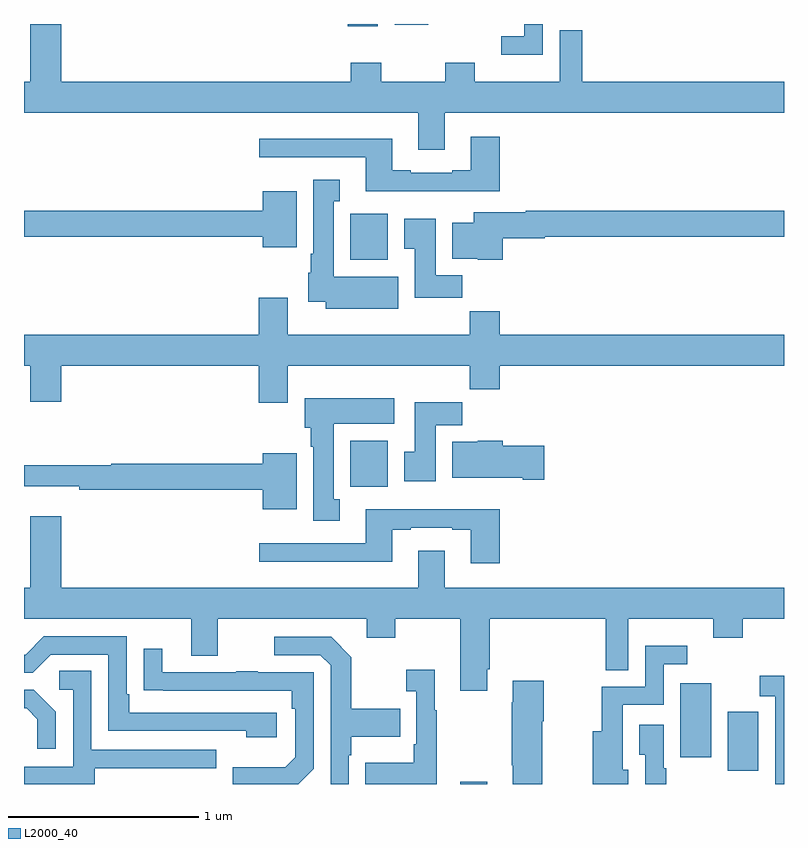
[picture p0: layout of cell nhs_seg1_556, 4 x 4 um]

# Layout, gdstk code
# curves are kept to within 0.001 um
import gdstk
lib = gdstk.Library(unit=1e-6, precision=1e-09)
def R(c, l, rs):  # rectangles x0, y0, x1, y1
    for r in rs: c.add(gdstk.rectangle(r[:2], r[2:], *l))
def P(c, l, *ps):  # polygons
    for p in ps: c.add(gdstk.Polygon(p, *l))
L2000_40 = (2000, 40)

nhs_seg1_556 = lib.new_cell('nhs_seg1_556')
R(nhs_seg1_556, L2000_40, [(143.297,548.199,143.437,548.212), (144.704,548.269,144.865,548.58), (144.455,548.339,144.616,548.728), (142.718,549.764,142.915,550.006), (142.718,550.958,142.915,551.2), (142.703,552.186,142.861,552.199), (142.95,552.195,143.128,552.199)])
P(nhs_seg1_556, L2000_40, [(143.73,552.199),(143.634,552.199),(143.634,552.135),(143.511,552.135),(143.511,552.038),(143.73,552.038)],
  [(143.215,551.732),(145,551.732),(145,551.896),(143.938,551.896),(143.938,552.167),(143.819,552.167),(143.819,551.896),(143.373,551.896),(143.373,551.995),(143.218,551.995),(143.218,551.896),(142.881,551.896),(142.881,551.995),(142.721,551.995),(142.721,551.896),(141.196,551.896),(141.196,552.199),(141.032,552.199),(141.032,551.896),(141,551.896),(141,551.732),(143.075,551.732),(143.075,551.538),(143.215,551.538)],
  [(143.504,551.605),(143.351,551.605),(143.351,551.428),(143.255,551.428),(143.255,551.415),(143.035,551.415),(143.035,551.428),(142.939,551.428),(142.939,551.596),(142.239,551.596),(142.239,551.499),(142.799,551.499),(142.799,551.318),(143.504,551.318)],
  [(142.969,550.87),(142.63,550.87),(142.63,551.267),(142.663,551.267),(142.663,551.38),(142.523,551.38),(142.523,550.99),(142.508,550.99),(142.508,550.89),(142.496,550.89),(142.496,550.736),(142.589,550.736),(142.589,550.7),(142.969,550.7)],
  [(142.435,551.32),(142.256,551.32),(142.256,551.216),(141,551.216),(141,551.08),(142.256,551.08),(142.256,551.024),(142.435,551.024)],
  [(143.519,551.072),(143.742,551.072),(143.742,551.08),(145,551.08),(145,551.216),(143.642,551.216),(143.642,551.209),(143.366,551.209),(143.366,551.152),(143.255,551.152),(143.255,550.964),(143.388,550.964),(143.388,550.958),(143.519,550.958)],
  [(143.306,550.876),(143.167,550.876),(143.167,551.173),(143,551.173),(143,551.017),(143.057,551.017),(143.057,550.758),(143.306,550.758)],
  [(142.387,550.4),(143.347,550.4),(143.347,550.276),(143.504,550.276),(143.504,550.4),(145,550.4),(145,550.564),(143.504,550.564),(143.504,550.688),(143.347,550.688),(143.347,550.564),(142.387,550.564),(142.387,550.759),(142.235,550.759),(142.235,550.564),(141,550.564),(141,550.4),(141.032,550.4),(141.032,550.212),(141.196,550.212),(141.196,550.4),(142.235,550.4),(142.235,550.206),(142.387,550.206)],
  [(142.663,549.698),(142.63,549.698),(142.63,550.094),(142.948,550.094),(142.948,550.228),(142.478,550.228),(142.478,550.074),(142.508,550.074),(142.508,549.974),(142.523,549.974),(142.523,549.585),(142.663,549.585)],
  [(143.167,550.088),(143.306,550.088),(143.306,550.207),(143.057,550.207),(143.057,549.948),(143,549.948),(143,549.792),(143.167,549.792)],
  [(143.737,549.978),(143.519,549.978),(143.519,550.006),(143.388,550.006),(143.388,550),(143.255,550),(143.255,549.812),(143.624,549.812),(143.624,549.8),(143.737,549.8)],
  [(142.435,549.94),(142.256,549.94),(142.256,549.884),(141.46,549.884),(141.46,549.877),(141,549.877),(141,549.767),(141.292,549.767),(141.292,549.748),(142.256,549.748),(142.256,549.644),(142.435,549.644)],
  [(143.504,549.646),(142.799,549.646),(142.799,549.465),(142.239,549.465),(142.239,549.368),(142.939,549.368),(142.939,549.537),(143.035,549.537),(143.035,549.549),(143.255,549.549),(143.255,549.537),(143.351,549.537),(143.351,549.36),(143.504,549.36)],
  [(143.437,548.803),(143.45,548.803),(143.45,549.068),(144.063,549.068),(144.063,548.797),(144.181,548.797),(144.181,549.068),(144.628,549.068),(144.628,548.969),(144.783,548.969),(144.783,549.068),(145,549.068),(145,549.232),(143.215,549.232),(143.215,549.427),(143.075,549.427),(143.075,549.232),(141.196,549.232),(141.196,549.607),(141.032,549.607),(141.032,549.232),(141,549.232),(141,549.068),(141.881,549.068),(141.881,548.874),(142.021,548.874),(142.021,549.068),(142.805,549.068),(142.805,548.969),(142.953,548.969),(142.953,549.068),(143.297,549.068),(143.297,548.691),(143.437,548.691)],
  [(142.33,548.574),(141.553,548.574),(141.553,548.671),(141.54,548.671),(141.54,548.976),(141.105,548.976),(141.009,548.88),(141,548.88),(141,548.784),(141.045,548.784),(141.141,548.88),(141.444,548.88),(141.444,548.478),(142.169,548.478),(142.169,548.444),(142.33,548.444)],
  [(142.71,548.351),(142.723,548.351),(142.723,548.447),(142.979,548.447),(142.979,548.595),(142.723,548.595),(142.723,548.867),(142.617,548.973),(142.317,548.973),(142.317,548.877),(142.56,548.877),(142.614,548.823),(142.614,548.199),(142.71,548.199)],
  [(144.181,548.275),(144.151,548.275),(144.151,548.616),(144.366,548.616),(144.366,548.829),(144.49,548.829),(144.49,548.926),(144.27,548.926),(144.27,548.712),(144.04,548.712),(144.04,548.476),(143.993,548.476),(143.993,548.199),(144.181,548.199)],
  [(142.524,548.28),(142.524,548.787),(142.229,548.787),(142.229,548.792),(142.117,548.792),(142.117,548.787),(141.727,548.787),(141.727,548.911),(141.631,548.911),(141.631,548.692),(142.408,548.691),(142.408,548.594),(142.428,548.594),(142.428,548.34),(142.375,548.287),(142.098,548.287),(142.098,548.199),(142.443,548.199)],
  [(143.173,548.587),(143.161,548.587),(143.161,548.8),(143.013,548.8),(143.013,548.687),(143.064,548.687),(143.064,548.407),(143.052,548.407),(143.052,548.311),(142.795,548.311),(142.795,548.199),(143.173,548.199)],
  [(141.373,548.283),(142.013,548.283),(142.013,548.379),(141.354,548.379),(141.354,548.795),(141.186,548.795),(141.186,548.694),(141.258,548.694),(141.258,548.289),(141,548.289),(141,548.199),(141.373,548.199)],
  [(145,548.77),(144.873,548.77),(144.873,548.661),(144.954,548.661),(144.954,548.199),(145,548.199)],
  [(143.728,548.53),(143.736,548.53),(143.736,548.743),(143.573,548.743),(143.573,548.63),(143.566,548.63),(143.566,548.299),(143.573,548.299),(143.573,548.199),(143.728,548.199)],
  [(141.168,548.578),(141.052,548.694),(141,548.694),(141,548.598),(141.014,548.598),(141.071,548.541),(141.071,548.385),(141.168,548.385)],
  [(144.379,548.281),(144.366,548.281),(144.366,548.512),(144.239,548.512),(144.239,548.353),(144.27,548.353),(144.27,548.199),(144.379,548.199)])

lib.write_gds('nhs_seg1_556.gds')
